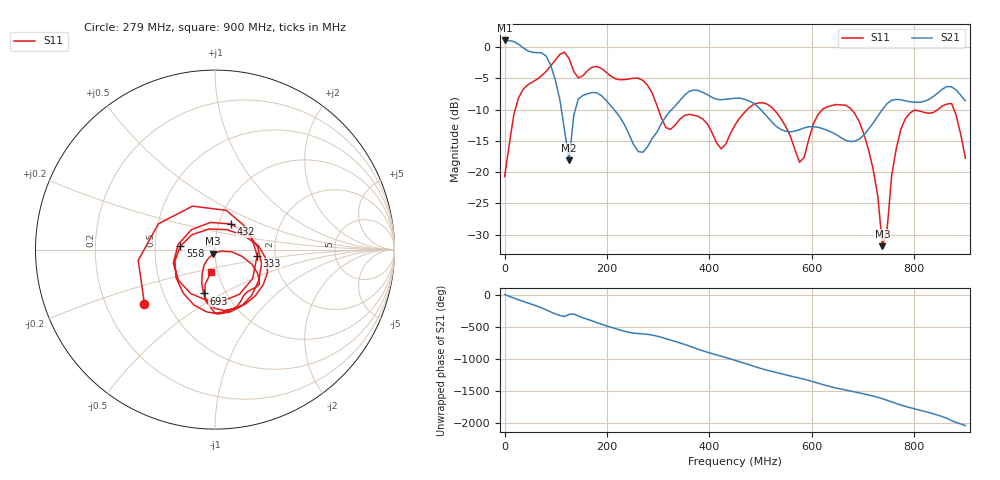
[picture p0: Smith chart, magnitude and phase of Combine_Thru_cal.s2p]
# HZ S RI R 50
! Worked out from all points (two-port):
!   101 points, 50 kHz to 900 MHz, reference 50 ohm
!   highest |S21| = 1.07 dB at 50 kHz (marker M1); lowest = -18.1 dB at 126 MHz (marker M2)
!   |S21| within 3 dB of the highest: start of sweep to 84.3 MHz
!   lowest |S11| = -31.8 dB at 738 MHz (marker M3), VSWR 1.05, Z = 48.9 - j2.29 ohm
!   |S11| at or under -10 dB: 300.5 MHz to 473.8 MHz (173.3 MHz wide, 44.8 % of centre); 526 MHz to 620.3 MHz (94.26 MHz wide, 16.4 % of centre); 677.6 MHz to 845.9 MHz (168.3 MHz wide, 22.1 % of centre) (the widest 3 of 5)
!   S12 and S22 are empty: the file has one direction only
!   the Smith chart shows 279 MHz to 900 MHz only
!   S11 on the Smith chart (normalised r, x): 279 MHz: 0.37, -0.30; 333 MHz: 1.61, -0.11; 432 MHz: 1.14, +0.33; 558 MHz: 0.68, +0.03; 693 MHz: 0.79, -0.41; 900 MHz: 0.93, -0.24
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50000  0.0827 -0.0403  1.131 0.00528  0 0  0 0
2.70485e7  -0.3895 -0.0189  0.1672 -1.044  0 0  0 0
6.30465e7  0.3437 0.4325  -0.9043 -0.0306  0 0  0 0
8.10455e7  0.6294 -0.1145  -0.4603 0.7155  0 0  0 0
1.08044e8  -0.3882 -0.7861  0.3073 0.2204  0 0  0 0
1.26043e8  -0.5722 0.5706  0.0752 0.0992  0 0  0 0
1.530415e8  0.3938 -0.4415  0.4111 -0.00097  0 0  0 0
1.8004e8  -0.6917 -0.1103  0.1157 -0.4156  0 0  0 0
2.070385e8  0.073 0.5842  -0.2843 -0.1892  0 0  0 0
2.34037e8  0.5425 -0.0912  -0.2103 0.1156  0 0  0 0
2.790345e8  -0.3928 -0.3049  -0.0362 0.1547  0 0  0 0
3.06033e8  -0.1256 0.2421  0.1342 0.2042  0 0  0 0
3.330315e8  0.2351 -0.0331  0.3355 -0.0435  0 0  0 0
4.32026e8  0.0886 0.1424  -0.0803 0.3747  0 0  0 0
4.50025e8  0.238 0.0151  0.1993 0.336  0 0  0 0
5.58019e8  -0.1935 0.0194  -0.2099 0.0117  0 0  0 0
6.030165e8  0.2424 0.0213  0.0138 0.23  0 0  0 0
6.930115e8  -0.0636 -0.244  0.00907 -0.184  0 0  0 0
7.38009e8  -0.0104 -0.0234  -0.3179 -0.0165  0 0  0 0
7.56008e8  0.0933 -0.0122  -0.2585 0.2731  0 0  0 0
8.550025e8  0.1248 -0.3151  -0.0427 -0.4594  0 0  0 0
9e8  -0.0219 -0.1275  -0.2309 0.2923  0 0  0 0
